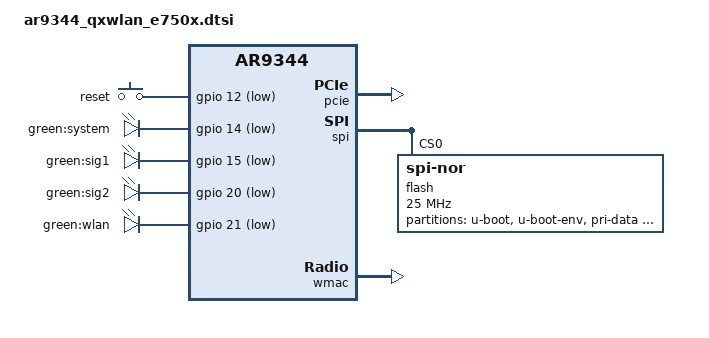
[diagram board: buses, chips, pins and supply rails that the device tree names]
// SPDX-License-Identifier: GPL-2.0-or-later OR MIT

#include "ar9344.dtsi"

#include <dt-bindings/gpio/gpio.h>
#include <dt-bindings/input/input.h>

/ {
	aliases {
		label-mac-device = &eth0;
		led-boot = &led_system;
		led-failsafe = &led_system;
		led-running = &led_system;
		led-upgrade = &led_system;
	};

	keys {
		compatible = "gpio-keys";

		reset {
			label = "reset";
			linux,code = <KEY_RESTART>;
			gpios = <&gpio 12 GPIO_ACTIVE_LOW>;
			debounce-interval = <60>;
		};
	};

	leds: leds {
		compatible = "gpio-leds";

		led_system: system {
			label = "green:system";
			gpios = <&gpio 14 GPIO_ACTIVE_LOW>;
			default-state = "on";
		};

		sig1 {
			label = "green:sig1";
			gpios = <&gpio 15 GPIO_ACTIVE_LOW>;
		};

		sig2 {
			label = "green:sig2";
			gpios = <&gpio 20 GPIO_ACTIVE_LOW>;
		};

		wlan {
			label = "green:wlan";
			gpios = <&gpio 21 GPIO_ACTIVE_LOW>;
			linux,default-trigger = "phy0tpt";
		};
	};
};

&pcie {
	status = "okay";
};

&spi {
	status = "okay";

	flash@0 {
		compatible = "jedec,spi-nor";
		reg = <0>;
		spi-max-frequency = <25000000>;

		partitions: partitions {
			compatible = "fixed-partitions";
			#address-cells = <1>;
			#size-cells = <1>;

			partition@0 {
				label = "u-boot";
				reg = <0x000000 0x040000>;
				read-only;
			};

			partition@40000 {
				label = "u-boot-env";
				reg = <0x040000 0x010000>;
				read-only;
			};

			pridata: partition@50000 {
				label = "pri-data";
				reg = <0x050000 0x010000>;
				read-only;
			};

			art: partition@60000 {
				label = "art";
				reg = <0x060000 0x010000>;
				read-only;
			};
		};
	};
};

&ref {
	clock-frequency = <40000000>;
};

&wmac {
	status = "okay";

	mtd-cal-data = <&art 0x1000>;
};
